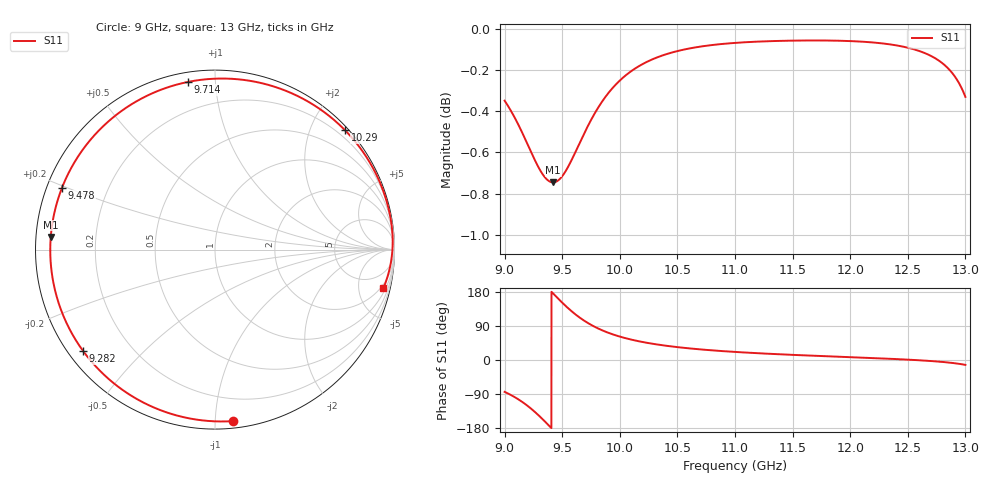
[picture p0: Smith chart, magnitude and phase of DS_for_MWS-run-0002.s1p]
! TOUCHSTONE file generated by CST DESIGN STUDIO
! Date and time: Tue Feb  4 13:46:31 2025
! Project name: C:\Work\MatlabApps\UnitCellOptimizationMatlab\CST\unitcell.cst
! Tree item: Tasks\Sweep1\SPara1\S-Parameters
! Header version: 2024
! Port assignment regex: !\s*Touchstone port\s*([0-9]+)\s*=\s*(CST MWS port|CST DES external port|CST DES block port)\s*(.+)\s* \(\"(.*)\"\)(\s*mode\s*([0-9]+))?.*
! Touchstone port assignment:
! Touchstone port 1 = CST DES external port 1 ("")
# GHz S MA R 50
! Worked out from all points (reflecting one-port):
!   4001 points, 9 GHz to 13 GHz, reference 50 ohm
!   lowest |S11| = -0.7 dB at 9.421 GHz (marker M1), VSWR 23.32, Z = 2.15 + j1.92 ohm
!   phase of S11 starts at -84 deg and turns -289 deg over the sweep
!   S11 on the Smith chart (normalised r, x): 9 GHz: 0.04, -1.11; 9.282 GHz: 0.04, -0.34; 9.478 GHz: 0.04, +0.19; 9.714 GHz: 0.05, +0.85; 10.29 GHz: 0.06, +2.57; 13 GHz: 1.48, -8.65
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9  0.9607 -84.1
9.085  0.9519 -97.5
9.156  0.9433 -111.3
9.22  0.9348 -126.0
9.282  0.9269 -142.3
9.355  0.92 -163.8
9.388  0.9183 -174.1
9.421  0.9178 175.6
9.478  0.9195 158.0
9.5  0.9209 151.4
9.552  0.9259 136.5
9.603  0.932 123.3
9.656  0.9388 111.0
9.714  0.9461 99.3
9.777  0.9534 88.5
9.852  0.9607 77.7
9.924  0.9666 69.2
10  0.9716 61.8
10.133  0.9782 51.5
10.29  0.9834 42.6
10.5  0.9878 34.0
10.723  0.9905 27.4
11  0.9923 21.3
11.5  0.9935 13.6
12  0.9933 7.5
12.5  0.9896 1.0
12.791  0.9815 -4.9
13  0.9627 -12.8
